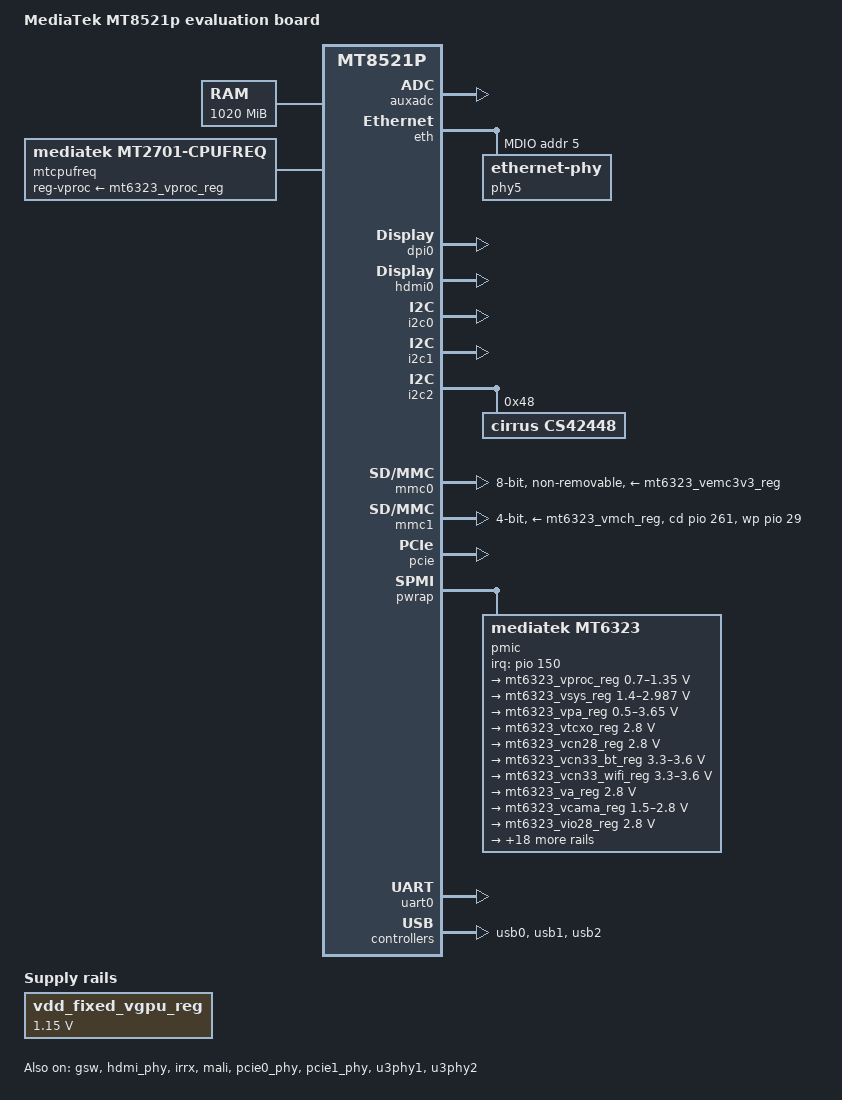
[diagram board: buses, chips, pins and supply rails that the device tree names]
/*
 * Copyright (c) 2016 MediaTek Inc.
 * Author: Erin Lo <erin.lo@mediatek.com>
 *
 * This program is free software; you can redistribute it and/or modify
 * it under the terms of the GNU General Public License version 2 as
 * published by the Free Software Foundation.
 *
 * This program is distributed in the hope that it will be useful,
 * but WITHOUT ANY WARRANTY; without even the implied warranty of
 * MERCHANTABILITY or FITNESS FOR A PARTICULAR PURPOSE.  See the
 * GNU General Public License for more details.
 */

/dts-v1/;
#include "mt8521p.dtsi"

/ {
	model = "MediaTek MT8521p evaluation board";
	compatible = "mediatek,mt8521p-evb2", "mediatek,mt8521p";

	chosen {
		bootargs = "console=ttyS0,921600n1 root=/dev/mmcblk0p5 rootwait printk.disable_uart=0 initcall_debug=1";
	};

	memory {
		reg = <0 0x80000000 0 0x3fc00000>;
	};

	mtcpufreq {
		compatible = "mediatek,mt2701-cpufreq";
		reg-vproc-supply = <&mt6323_vproc_reg>;
	};

	ice: ice_debug {
		compatible = "mediatek,mt8521p-ice_debug",
			     "mediatek,mt2701-ice_debug";
		clocks = <&infracfg CLK_INFRA_DBG>;
		clock-names = "ice_dbg";
	};

	vdd_fixed_vgpu_reg: fixedregulator@0 {
		compatible = "regulator-fixed";
		regulator-name = "vdd_fixed_vgpu";
		regulator-min-microvolt = <1150000>;
		regulator-max-microvolt = <1150000>;
	};
};

&auxadc {
	status = "okay";
};

&eth {
	mac-address = [00 00 00 00 00 00];
	status = "okay";
	pinctrl-names = "default";
	pinctrl-0 = <&ephy_default>;

	gmac0: mac@0 {
		compatible = "mediatek,eth-mac";
		reg = <0>;
		phy-mode = "trgmii";
		fixed-link {
			speed = <1000>;
			full-duplex;
			pause;
		};
	};

	gmac1: mac@1 {
		compatible = "mediatek,eth-mac";
		reg = <1>;
		phy-handle = <&phy5>;
	};

	mdio-bus {
		#address-cells = <1>;
		#size-cells = <0>;
		phy5: ethernet-phy@5 {
			reg = <5>;
			phy-mode = "rgmii-rxid";
		};
	};
};

&gsw {
	mt7530-supply = <&mt6323_vpa_reg>;
	pinctrl-names = "reset";
	pinctrl-0 = <&gsw_reset>;
	mediatek,reset-pin = <&pio 15 0>;
	interrupt-parent = <&pio>;
	interrupts = <17 IRQ_TYPE_EDGE_RISING>;
	status = "okay";
};

&dpi0 {
	status = "okay";
};

&hdmi0 {
	status = "okay";
};

&hdmi_phy {
	status = "okay";
};

&i2c0 {
	pinctrl-names = "default";
	pinctrl-0 = <&i2c0_pins_a>;
	status = "okay";
};

&i2c1 {
	pinctrl-names = "default";
	pinctrl-0 = <&i2c1_pins_a>;
	status = "okay";
};

&i2c2 {
	pinctrl-names = "default";
	pinctrl-0 = <&i2c2_pins_a>;
	status = "okay";
	cs42448: cs42448@48 {
	    compatible = "cirrus,cs42448";
	    reg = <0x48>;
	    clocks = <&topckgen CLK_TOP_AUD_I2S1_MCLK>;
		clock-names = "mclk";
	};
};

&irrx {
	pinctrl-names = "default";
	pinctrl-0 = <&irrx_pins_ir_input>;
	status = "okay";
};

&mali {
	vdd_g3d-supply = <&vdd_fixed_vgpu_reg>;
	status = "okay";
};

&mmc0 {
	pinctrl-names = "default", "state_uhs";
	pinctrl-0 = <&mmc0_pins_default>;
	pinctrl-1 = <&mmc0_pins_uhs>;
	status = "okay";
	bus-width = <8>;
	max-frequency = <200000000>;
	cap-mmc-highspeed;
	latch-ck = <1>;
	mmc-hs200-1_8v;
	vmmc-supply = <&mt6323_vemc3v3_reg>;
	vqmmc-supply = <&mt6323_vio18_reg>;
	non-removable;
};

&mmc1 {
	pinctrl-names = "default", "state_uhs";
	pinctrl-0 = <&mmc1_pins_default>;
	pinctrl-1 = <&mmc1_pins_uhs>;
	status = "okay";
	bus-width = <4>;
	max-frequency = <50000000>;
	cap-sd-highspeed;
	sd-uhs-sdr25;
	cd-gpios = <&pio 261 0>;
	wp-gpios = <&pio 29 0>;
	vmmc-supply = <&mt6323_vmch_reg>;
	vqmmc-supply = <&mt6323_vmc_reg>;
};

&pcie {
	pinctrl-names = "default";
	pinctrl-0 = <&pcie_default>;
	status = "okay";

	pcie@0,0 {
		status = "okay";
	};

	pcie@1,0 {
		status = "okay";
	};
};

&pcie0_phy {
	status = "okay";
};

&pcie1_phy {
	status = "okay";
};

&pio {
	aud_pins_default: audiodefault {
		pins_cmd_dat {
			pinmux = <MT2701_PIN_49_I2S0_DATA__FUNC_I2S0_DATA>,
				 <MT2701_PIN_72_I2S0_DATA_IN__FUNC_I2S0_DATA_IN>,
				 <MT2701_PIN_73_I2S0_LRCK__FUNC_I2S0_LRCK>,
				 <MT2701_PIN_74_I2S0_BCK__FUNC_I2S0_BCK>,
				 <MT2701_PIN_126_I2S0_MCLK__FUNC_I2S0_MCLK>,
				 <MT2701_PIN_33_I2S1_DATA__FUNC_I2S1_DATA>,
				 <MT2701_PIN_34_I2S1_DATA_IN__FUNC_I2S1_DATA_IN>,
				 <MT2701_PIN_35_I2S1_BCK__FUNC_I2S1_BCK>,
				 <MT2701_PIN_36_I2S1_LRCK__FUNC_I2S1_LRCK>,
				 <MT2701_PIN_37_I2S1_MCLK__FUNC_I2S1_MCLK>,
				 <MT2701_PIN_203_PWM0__FUNC_I2S2_DATA>,
				 <MT2701_PIN_204_PWM1__FUNC_I2S3_DATA>,
				 <MT2701_PIN_53_SPI0_CSN__FUNC_GPIO53>,
				 <MT2701_PIN_54_SPI0_CK__FUNC_GPIO54>;
			drive-strength = <MTK_DRIVE_12mA>;
			bias-pull-down;
		};
	};

	aud_pins_spdifin0_mode0_gpio: spdifin0_mode0_gpio {
		pins_cmd_dat {
			pinmux = <MT2701_PIN_201_SPDIF_IN0__FUNC_GPIO201>;
		};
	};
	aud_pins_spdifin0_mode1_spdif: spdifin0_mode1_spdif {
		pins_cmd_dat {
			pinmux = <MT2701_PIN_201_SPDIF_IN0__FUNC_SPDIF_IN0>;
		};
	};
	aud_pins_spdifin1_mode0_gpio: spdifin1_mode0_gpio {
		pins_cmd_dat {
			pinmux = <MT2701_PIN_202_SPDIF_IN1__FUNC_GPIO202>;
		};
	};
	aud_pins_spdifin1_mode1_spdif: spdifin1_mode1_spdif {
		pins_cmd_dat {
			pinmux = <MT2701_PIN_202_SPDIF_IN1__FUNC_SPDIF_IN1>;
		};
	};

	ephy_default: ephy_default {
		pins_eth {
			pinmux = <MT2701_PIN_275_MDC__FUNC_MDC>,
				<MT2701_PIN_276_MDIO__FUNC_MDIO>,
				<MT2701_PIN_262_G2_TXEN__FUNC_G2_TXEN>,
				<MT2701_PIN_263_G2_TXD3__FUNC_G2_TXD3>,
				<MT2701_PIN_264_G2_TXD2__FUNC_G2_TXD2>,
				<MT2701_PIN_265_G2_TXD1__FUNC_G2_TXD1>,
				<MT2701_PIN_266_G2_TXD0__FUNC_G2_TXD0>,
				<MT2701_PIN_267_G2_TXC__FUNC_G2_TXC>,
				<MT2701_PIN_268_G2_RXC__FUNC_G2_RXC>,
				<MT2701_PIN_269_G2_RXD0__FUNC_G2_RXD0>,
				<MT2701_PIN_270_G2_RXD1__FUNC_G2_RXD1>,
				<MT2701_PIN_271_G2_RXD2__FUNC_G2_RXD2>,
				<MT2701_PIN_272_G2_RXD3__FUNC_G2_RXD3>,
				<MT2701_PIN_274_G2_RXDV__FUNC_G2_RXDV>;
		};
	};

	gsw_reset: gsw_reset {
		pins_rst {
			pinmux = <MT2701_PIN_15_UTXD2__FUNC_GPIO15>;
			output-low;
		};
	};

	i2c0_pins_a: i2c0@0 {
		pins1 {
			pinmux = <MT2701_PIN_75_SDA0__FUNC_SDA0>,
				 <MT2701_PIN_76_SCL0__FUNC_SCL0>;
			bias-disable;
		};
	};

	i2c1_pins_a: i2c1@0 {
		pins1 {
			pinmux = <MT2701_PIN_57_SDA1__FUNC_SDA1>,
				 <MT2701_PIN_58_SCL1__FUNC_SCL1>;
			bias-disable;
		};
	};

	i2c2_pins_a: i2c2@0 {
		pins1 {
			pinmux = <MT2701_PIN_77_SDA2__FUNC_SDA2>,
				 <MT2701_PIN_78_SCL2__FUNC_SCL2>;
			bias-disable;
		};
	};

	irrx_pins_ir_input: irrx_pin_ir{
		pins_cmd_dat {
			pinmux = <MT2701_PIN_46_IR__FUNC_IR>;
			bias-disable;
		};
	};

	mmc0_pins_default: mmc0default {
		pins_cmd_dat {
			pinmux = <MT2701_PIN_121_MSDC0_DAT0__FUNC_MSDC0_DAT0>,
				 <MT2701_PIN_120_MSDC0_DAT1__FUNC_MSDC0_DAT1>,
				 <MT2701_PIN_119_MSDC0_DAT2__FUNC_MSDC0_DAT2>,
				 <MT2701_PIN_118_MSDC0_DAT3__FUNC_MSDC0_DAT3>,
				 <MT2701_PIN_114_MSDC0_DAT4__FUNC_MSDC0_DAT4>,
				 <MT2701_PIN_113_MSDC0_DAT5__FUNC_MSDC0_DAT5>,
				 <MT2701_PIN_112_MSDC0_DAT6__FUNC_MSDC0_DAT6>,
				 <MT2701_PIN_111_MSDC0_DAT7__FUNC_MSDC0_DAT7>,
				 <MT2701_PIN_116_MSDC0_CMD__FUNC_MSDC0_CMD>;
			input-enable;
			bias-pull-up;
		};
		pins_clk {
			pinmux = <MT2701_PIN_117_MSDC0_CLK__FUNC_MSDC0_CLK>;
			bias-pull-down;
		};

		pins_rst {
			pinmux = <MT2701_PIN_115_MSDC0_RSTB__FUNC_MSDC0_RSTB>;
			bias-pull-up;
		};
	};

	mmc0_pins_uhs: mmc0@0{
		pins_cmd_dat {
			pinmux = <MT2701_PIN_121_MSDC0_DAT0__FUNC_MSDC0_DAT0>,
				 <MT2701_PIN_120_MSDC0_DAT1__FUNC_MSDC0_DAT1>,
				 <MT2701_PIN_119_MSDC0_DAT2__FUNC_MSDC0_DAT2>,
				 <MT2701_PIN_118_MSDC0_DAT3__FUNC_MSDC0_DAT3>,
				 <MT2701_PIN_114_MSDC0_DAT4__FUNC_MSDC0_DAT4>,
				 <MT2701_PIN_113_MSDC0_DAT5__FUNC_MSDC0_DAT5>,
				 <MT2701_PIN_112_MSDC0_DAT6__FUNC_MSDC0_DAT6>,
				 <MT2701_PIN_111_MSDC0_DAT7__FUNC_MSDC0_DAT7>,
				 <MT2701_PIN_116_MSDC0_CMD__FUNC_MSDC0_CMD>;
			input-enable;
			drive-strength = <MTK_DRIVE_8mA>;
			bias-pull-up = <MTK_PUPD_SET_R1R0_01>;
		};

		pins_clk {
			pinmux = <MT2701_PIN_117_MSDC0_CLK__FUNC_MSDC0_CLK>;
			drive-strength = <MTK_DRIVE_8mA>;
			bias-pull-down = <MTK_PUPD_SET_R1R0_10>;
		};

		pins_rst {
			pinmux = <MT2701_PIN_115_MSDC0_RSTB__FUNC_MSDC0_RSTB>;
			bias-pull-up;
		};
	};

	mmc1_pins_default: mmc1default {
		pins_cmd_dat {
			pinmux = <MT2701_PIN_107_MSDC1_DAT0__FUNC_MSDC1_DAT0>,
				<MT2701_PIN_108_MSDC1_DAT1__FUNC_MSDC1_DAT1>,
				<MT2701_PIN_109_MSDC1_DAT2__FUNC_MSDC1_DAT2>,
				<MT2701_PIN_110_MSDC1_DAT3__FUNC_MSDC1_DAT3>,
				<MT2701_PIN_105_MSDC1_CMD__FUNC_MSDC1_CMD>;
			input-enable;
			drive-strength = <MTK_DRIVE_4mA>;
			bias-pull-up = <MTK_PUPD_SET_R1R0_10>;
		};

		pins_clk {
			pinmux = <MT2701_PIN_106_MSDC1_CLK__FUNC_MSDC1_CLK>;
			bias-pull-down;
			drive-strength = <MTK_DRIVE_4mA>;
		};

		pins_wp {
			pinmux = <MT2701_PIN_29_EINT7__FUNC_MSDC1_WP>;
			input-enable;
			bias-pull-up;
		};

		pins_insert {
			pinmux = <MT2701_PIN_261_MSDC1_INS__FUNC_GPIO261>;
			bias-pull-up;
		};
	};

	mmc1_pins_uhs: mmc1@0 {
		pins_cmd_dat {
			pinmux = <MT2701_PIN_107_MSDC1_DAT0__FUNC_MSDC1_DAT0>,
				<MT2701_PIN_108_MSDC1_DAT1__FUNC_MSDC1_DAT1>,
				<MT2701_PIN_109_MSDC1_DAT2__FUNC_MSDC1_DAT2>,
				<MT2701_PIN_110_MSDC1_DAT3__FUNC_MSDC1_DAT3>,
				<MT2701_PIN_105_MSDC1_CMD__FUNC_MSDC1_CMD>;
			input-enable;
			drive-strength = <MTK_DRIVE_4mA>;
			bias-pull-up = <MTK_PUPD_SET_R1R0_10>;
		};

		pins_clk {
			pinmux = <MT2701_PIN_106_MSDC1_CLK__FUNC_MSDC1_CLK>;
			drive-strength = <MTK_DRIVE_4mA>;
			bias-pull-down = <MTK_PUPD_SET_R1R0_10>;
		};
	};

	nand_pins_default: nanddefault {
		pins_dat {
			pinmux = <MT2701_PIN_111_MSDC0_DAT7__FUNC_NLD7>,
				<MT2701_PIN_112_MSDC0_DAT6__FUNC_NLD6>,
				<MT2701_PIN_114_MSDC0_DAT4__FUNC_NLD4>,
				<MT2701_PIN_118_MSDC0_DAT3__FUNC_NLD3>,
				<MT2701_PIN_121_MSDC0_DAT0__FUNC_NLD0>,
				<MT2701_PIN_120_MSDC0_DAT1__FUNC_NLD1>,
				<MT2701_PIN_113_MSDC0_DAT5__FUNC_NLD5>,
				<MT2701_PIN_115_MSDC0_RSTB__FUNC_NLD8>,
				<MT2701_PIN_119_MSDC0_DAT2__FUNC_NLD2>;
			input-enable;
			drive-strength = <MTK_DRIVE_8mA>;
			bias-pull-up;
		};
	};

	pcie_default: pcie_pin_default {
		pins_cmd_dat {
			pinmux = <MT2701_PIN_22_EINT0__FUNC_PCIE0_PERST_N>,
				 <MT2701_PIN_209_AUD_EXT_CK2__FUNC_PCIE1_PERST_N>;
		};
	};

	spi_pins_a: spi0@0 {
		pins_spi {
			pinmux = <MT2701_PIN_53_SPI0_CSN__FUNC_SPI0_CS>,
				 <MT2701_PIN_54_SPI0_CK__FUNC_SPI0_CK>,
				 <MT2701_PIN_55_SPI0_MI__FUNC_SPI0_MI>,
				 <MT2701_PIN_56_SPI0_MO__FUNC_SPI0_MO>;
			bias-disable;
		};
	};

	spi_pins_b: spi1@0 {
		pins_spi {
			pinmux = <MT2701_PIN_7_SPI1_CSN__FUNC_SPI1_CS>,
				 <MT2701_PIN_8_SPI1_MI__FUNC_SPI1_MI>,
				 <MT2701_PIN_9_SPI1_MO__FUNC_SPI1_MO>,
				 <MT2701_PIN_199_SPI1_CLK__FUNC_SPI1_CK>;
			bias-disable;
		};
	};

	spi_pins_c: spi2@0 {
		pins_spi {
			pinmux = <MT2701_PIN_101_SPI2_CSN__FUNC_SPI2_CS>,
				 <MT2701_PIN_102_SPI2_MI__FUNC_SPI2_MI>,
				 <MT2701_PIN_103_SPI2_MO__FUNC_SPI2_MO>,
				 <MT2701_PIN_104_SPI2_CLK__FUNC_SPI2_CK>;
			bias-disable;
		};
	};

	usb_iddig: iddig_irq_init{
		pins_cmd_dat {
			pinmux = <MT2701_PIN_44_NCEB1__FUNC_GPIO44>;
			bias-pull-up ;
		};
	};

	usb_drvvbus: drvvbus_init{
		pins_cmd_dat {
			pinmux = <MT2701_PIN_45_NCEB0__FUNC_GPIO45>;
			output-low;
		};
	};

	usb_drvvbus_low: drvvbus_low{
		pins_cmd_dat {
			pinmux = <MT2701_PIN_45_NCEB0__FUNC_GPIO45>;
			slew-rate = <1>;
			output-low;
		};
	};

	usb_drvvbus_high: drvvbus_high{
		pins_cmd_dat {
			pinmux = <MT2701_PIN_45_NCEB0__FUNC_GPIO45>;
			output-high;
		};
	};
};

&pwrap {
	pmic: mt6323 {
		compatible = "mediatek,mt6323";
		interrupt-parent = <&pio>;
		interrupts = <150 IRQ_TYPE_LEVEL_HIGH>;
		interrupt-controller;
		#interrupt-cells = <2>;

		mt6323keys: mt6323keys {
			compatible = "mediatek,mt6323-keys";
			mediatek,pwrkey-code = <116>;
			mediatek,long-press-mode = <1>;
			mediatek,long-press-duration = <0>;
		};

		mt6323regulator: mt6323regulator{
			compatible = "mediatek,mt6323-regulator";

			mt6323_vproc_reg: buck_vproc{
				regulator-name = "vproc";
				regulator-min-microvolt = < 700000>;
				regulator-max-microvolt = <1350000>;
				regulator-ramp-delay = <12500>;
				regulator-always-on;
				regulator-boot-on;
			};

			mt6323_vsys_reg: buck_vsys{
				regulator-name = "vsys";
				regulator-min-microvolt = <1400000>;
				regulator-max-microvolt = <2987500>;
				regulator-ramp-delay = <25000>;
				regulator-always-on;
				regulator-boot-on;
			};

			mt6323_vpa_reg: buck_vpa{
				regulator-name = "vpa";
				regulator-min-microvolt = < 500000>;
				regulator-max-microvolt = <3650000>;
			};

			mt6323_vtcxo_reg: ldo_vtcxo{
				regulator-name = "vtcxo";
				regulator-min-microvolt = <2800000>;
				regulator-max-microvolt = <2800000>;
				regulator-enable-ramp-delay = <90>;
				regulator-always-on;
				regulator-boot-on;
			};

			mt6323_vcn28_reg: ldo_vcn28{
				regulator-name = "vcn28";
				regulator-min-microvolt = <2800000>;
				regulator-max-microvolt = <2800000>;
				regulator-enable-ramp-delay = <185>;
			};

			mt6323_vcn33_bt_reg: ldo_vcn33_bt{
				regulator-name = "vcn33_bt";
				regulator-min-microvolt = <3300000>;
				regulator-max-microvolt = <3600000>;
				regulator-enable-ramp-delay = <185>;
			};

			mt6323_vcn33_wifi_reg: ldo_vcn33_wifi{
				regulator-name = "vcn33_wifi";
				regulator-min-microvolt = <3300000>;
				regulator-max-microvolt = <3600000>;
				regulator-enable-ramp-delay = <185>;
			};

			mt6323_va_reg: ldo_va{
				regulator-name = "va";
				regulator-min-microvolt = <2800000>;
				regulator-max-microvolt = <2800000>;
				regulator-enable-ramp-delay = <216>;
				regulator-always-on;
				regulator-boot-on;
			};

			mt6323_vcama_reg: ldo_vcama{
				regulator-name = "vcama";
				regulator-min-microvolt = <1500000>;
				regulator-max-microvolt = <2800000>;
				regulator-enable-ramp-delay = <216>;
			};

			mt6323_vio28_reg: ldo_vio28{
				regulator-name = "vio28";
				regulator-min-microvolt = <2800000>;
				regulator-max-microvolt = <2800000>;
				regulator-enable-ramp-delay = <216>;
				regulator-always-on;
				regulator-boot-on;
			};

			mt6323_vusb_reg: ldo_vusb{
				regulator-name = "vusb";
				regulator-min-microvolt = <3300000>;
				regulator-max-microvolt = <3300000>;
				regulator-enable-ramp-delay = <216>;
				regulator-boot-on;
			};

			mt6323_vmc_reg: ldo_vmc{
				regulator-name = "vmc";
				regulator-min-microvolt = <1800000>;
				regulator-max-microvolt = <3300000>;
				regulator-enable-ramp-delay = <36>;
				regulator-always-on;
				regulator-boot-on;
			};

			mt6323_vmch_reg: ldo_vmch{
				regulator-name = "vmch";
				regulator-min-microvolt = <3000000>;
				regulator-max-microvolt = <3300000>;
				regulator-enable-ramp-delay = <36>;
				regulator-boot-on;
			};

			mt6323_vemc3v3_reg: ldo_vemc3v3{
				regulator-name = "vemc3v3";
				regulator-min-microvolt = <3000000>;
				regulator-max-microvolt = <3300000>;
				regulator-enable-ramp-delay = <36>;
				regulator-always-on;
				regulator-boot-on;
			};

			mt6323_vgp1_reg: ldo_vgp1{
				regulator-name = "vgp1";
				regulator-min-microvolt = <1200000>;
				regulator-max-microvolt = <3300000>;
				regulator-enable-ramp-delay = <216>;
			};

			mt6323_vgp2_reg: ldo_vgp2{
				regulator-name = "vgp2";
				regulator-min-microvolt = <1200000>;
				regulator-max-microvolt = <3000000>;
				regulator-enable-ramp-delay = <216>;
			};

			mt6323_vgp3_reg: ldo_vgp3{
				regulator-name = "vgp3";
				regulator-min-microvolt = <1200000>;
				regulator-max-microvolt = <1800000>;
				regulator-enable-ramp-delay = <216>;
			};

			mt6323_vcn18_reg: ldo_vcn18{
				regulator-name = "vcn18";
				regulator-min-microvolt = <1800000>;
				regulator-max-microvolt = <1800000>;
				regulator-enable-ramp-delay = <216>;
			};

			mt6323_vsim1_reg: ldo_vsim1{
				regulator-name = "vsim1";
				regulator-min-microvolt = <1800000>;
				regulator-max-microvolt = <3000000>;
				regulator-enable-ramp-delay = <216>;
			};

			mt6323_vsim2_reg: ldo_vsim2{
				regulator-name = "vsim2";
				regulator-min-microvolt = <1800000>;
				regulator-max-microvolt = <3000000>;
				regulator-enable-ramp-delay = <216>;
			};

			mt6323_vrtc_reg: ldo_vrtc{
				regulator-name = "vrtc";
				regulator-min-microvolt = <2800000>;
				regulator-max-microvolt = <2800000>;
				regulator-always-on;
				regulator-boot-on;
			};

			mt6323_vcamaf_reg: ldo_vcamaf{
				regulator-name = "vcamaf";
				regulator-min-microvolt = <1200000>;
				regulator-max-microvolt = <3300000>;
				regulator-enable-ramp-delay = <216>;
			};

			mt6323_vibr_reg: ldo_vibr{
				regulator-name = "vibr";
				regulator-min-microvolt = <1200000>;
				regulator-max-microvolt = <3300000>;
				regulator-enable-ramp-delay = <36>;
			};

			mt6323_vrf18_reg: ldo_vrf18{
				regulator-name = "vrf18";
				regulator-min-microvolt = <1825000>;
				regulator-max-microvolt = <1825000>;
				regulator-enable-ramp-delay = <187>;
			};

			mt6323_vm_reg: ldo_vm{
				regulator-name = "vm";
				regulator-min-microvolt = <1200000>;
				regulator-max-microvolt = <1800000>;
				regulator-enable-ramp-delay = <216>;
				regulator-always-on;
				regulator-boot-on;
			};

			mt6323_vio18_reg: ldo_vio18{
				regulator-name = "vio18";
				regulator-min-microvolt = <1800000>;
				regulator-max-microvolt = <1800000>;
				regulator-enable-ramp-delay = <216>;
				regulator-always-on;
				regulator-boot-on;
			};

			mt6323_vcamd_reg: ldo_vcamd{
				regulator-name = "vcamd";
				regulator-min-microvolt = <1200000>;
				regulator-max-microvolt = <1800000>;
				regulator-enable-ramp-delay = <216>;
			};

			mt6323_vcamio_reg: ldo_vcamio{
				regulator-name = "vcamio";
				regulator-min-microvolt = <1800000>;
				regulator-max-microvolt = <1800000>;
				regulator-enable-ramp-delay = <216>;
			};
		};
	};
};

&sound {
	/* CS42448 Machine name */
	compatible = "mediatek,mt8521p-cs42448-machine";
	/* CS42448 routing*/
	audio-routing =
		"Line Out Jack", "AOUT1L",
		"Line Out Jack", "AOUT1R",
		"Line Out Jack", "AOUT2L",
		"Line Out Jack", "AOUT2R",
		"Line Out Jack", "AOUT3L",
		"Line Out Jack", "AOUT3R",
		"Line Out Jack", "AOUT4L",
		"Line Out Jack", "AOUT4R",
		"AIN1L", "AMIC",
		"AIN1R", "AMIC",
		"AIN2L", "Tuner In",
		"AIN2R", "Tuner In",
		"AIN3L", "Satellite Tuner In",
		"AIN3R", "Satellite Tuner In",
		"AIN3L", "AUX In",
		"AIN3R", "AUX In";
	mediatek,audio-codec = <&cs42448>;
	pinctrl-names = "default", "audspdifin0-mode0-gpio",
			"audspdifin0-mode1-spdif", "audspdifin1-mode0-gpio",
			"audspdifin1-mode1-spdif";
	pinctrl-0 = <&aud_pins_default>;
	pinctrl-1 = <&aud_pins_spdifin0_mode0_gpio>;
	pinctrl-2 = <&aud_pins_spdifin0_mode1_spdif>;
	pinctrl-3 = <&aud_pins_spdifin1_mode0_gpio>;
	pinctrl-4 = <&aud_pins_spdifin1_mode1_spdif>;
	i2s1-in-sel-gpio1 = <&pio 53 0>;
	i2s1-in-sel-gpio2 = <&pio 54 0>;
	status = "okay";
};

&spi0 {
	pinctrl-names = "default";
	pinctrl-0 = <&spi_pins_a>;
	status = "disabled";

	spidev0: spi@0 {
		compatible = "linux,spidev";
		reg = <0>;
		spi-max-frequency = <1000000>;
	};
};

&spi1 {
	pinctrl-names = "default";
	pinctrl-0 = <&spi_pins_b>;
	status = "disabled";

	spidev1: spi@0 {
		compatible = "linux,spidev";
		reg = <0>;
		spi-max-frequency = <1000000>;
	};
};

&spi2 {
	pinctrl-names = "default";
	pinctrl-0 = <&spi_pins_c>;
	status = "disabled";

	spidev2: spi@0 {
		compatible = "linux,spidev";
		reg = <0>;
		spi-max-frequency = <1000000>;
	};
};

&uart0 {
	status = "okay";
};

&usb0 {
	pinctrl-names = "iddig_irq_init", "drvvbus_init", "drvvbus_low","drvvbus_high";
	pinctrl-0 = <&usb_iddig>;
	pinctrl-1 = <&usb_drvvbus>;
	pinctrl-2 = <&usb_drvvbus_low>;
	pinctrl-3 = <&usb_drvvbus_high>;
	status = "okay";
	drvvbus_gpio = <&pio 45 0>;
	otg-iddig{
		iddig_gpio = <&pio 44 0>;
		interrupt-parent = <&pio>;
		interrupts = <267 IRQ_TYPE_LEVEL_LOW>;
	};
	vbus-detect{
		vbus_gpio = <&pio 237 0>;
		interrupt-parent = <&pio>;
		interrupts = <123 IRQ_TYPE_LEVEL_HIGH>;
	};
};

&u3phy1 {
	status = "okay";
};

&u3phy2 {
	status = "okay";
};


&usb1 {
	vusb33-supply = <&mt6323_vusb_reg>;
	status = "okay";
};

&usb2 {
	vusb33-supply = <&mt6323_vusb_reg>;
	status = "okay";
};
